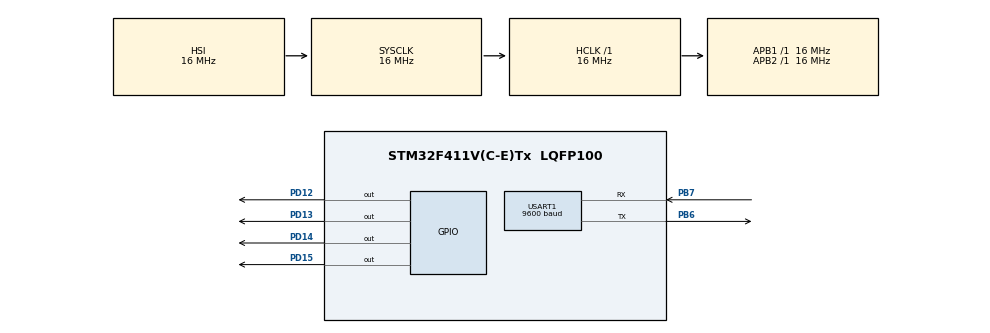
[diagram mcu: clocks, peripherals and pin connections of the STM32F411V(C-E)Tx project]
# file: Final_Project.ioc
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FREERTOS.Tasks01=defaultTask,24,128,StartDefaultTask,Default,NULL,Dynamic,NULL,NULL;Blinking_LED,8,1024,Function1,Default,NULL,Dynamic,NULL,NULL;UART,8,1024,Function2,Default,NULL,Dynamic,NULL,NULL
Mcu.Family=STM32F4
Mcu.Name=STM32F411V(C-E)Tx
Mcu.Package=LQFP100
NVIC.PriorityGroup=NVIC_PRIORITYGROUP_4
PA13.Mode=Serial_Wire
PA13.Signal=SYS_JTMS-SWDIO
PA14.Mode=Serial_Wire
PA14.Signal=SYS_JTCK-SWCLK
PB6.Mode=Asynchronous
PB6.Signal=USART1_TX
PB7.Mode=Asynchronous
PB7.Signal=USART1_RX
PD12.Signal=GPIO_Output
PD13.Signal=GPIO_Output
PD14.Signal=GPIO_Output
PD15.Signal=GPIO_Output
ProjectManager.HeapSize=0x200
ProjectManager.StackSize=0x400
ProjectManager.TargetToolchain=STM32CubeIDE
RCC.AHBFreq_Value=16000000
RCC.APB1Freq_Value=16000000
RCC.APB2Freq_Value=16000000
RCC.CortexFreq_Value=16000000
RCC.HSE_VALUE=25000000
RCC.HSI_VALUE=16000000
RCC.LSE_VALUE=32768
RCC.SYSCLKFreq_VALUE=16000000
RCC.VCOOutputFreq_Value=192000000
USART1.BaudRate=9600
USART1.VirtualMode=VM_ASYNC
USART1.WordLength=WORDLENGTH_8B
VP_FREERTOS_VS_CMSIS_V2.Mode=CMSIS_V2
board=custom

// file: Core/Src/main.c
/* USER CODE BEGIN Header */
/**
  ******************************************************************************
  * @file           : main.c
  * @brief          : Main program body
  ******************************************************************************
  * @attention
  *
  * Copyright (c) 2023 STMicroelectronics.
  * All rights reserved.
  *
  * This software is licensed under terms that can be found in the LICENSE file
  * in the root directory of this software component.
  * If no LICENSE file comes with this software, it is provided AS-IS.
  *
  ******************************************************************************
  */
/* USER CODE END Header */
#include "main.h"
#include <string.h>
#include <stdarg.h>
#include <stdio.h>
#include "stdint.h"
#include "cmsis_os.h"

/* USER CODE BEGIN Includes */
void adc_init()
{
	//__HAL_RCC_ADC_CLK_ENABLE();
	uint32_t* RCC_APB2ENR = (uint32_t*)(0x40023800 + 0x44);
	*RCC_APB2ENR |= (1 << 8);

	uint32_t* ADC_CCR = (uint32_t*)(0x40012000 + 0x300 + 0x04);
	*ADC_CCR |= (1 << 23);

	uint32_t* ADC_JSQR = (uint32_t*)(0x40012000 + 0x38);
	*ADC_JSQR &= ~(0b11 << 20); //1 conversion
	*ADC_JSQR |= (16 << 15);    //select channel 16 (temp sensor) to measure

	uint32_t* ADC_CR2 = (uint32_t*)(0x40012000 + 0x08);
	*ADC_CR2 |= (1 << 0);

	uint32_t* ADC_SMPR1 = (uint32_t*)(0x40012000 + 0x0C);
	*ADC_SMPR1 |= (0b111 << 18); //select sample time for channel 16 is 480 cycles
}

int adc_measure_vin()
{
	uint32_t* ADC_CR2 = (uint32_t*)(0x40012000 + 0x08);
	*ADC_CR2 |= (1 << 22); //start injected conversion

	uint32_t* ADC_SR = (uint32_t*)(0x40012000 + 0x00);
	while(((*ADC_SR >> 2) &1 ) !=1); //wait until injected conversion complete

	uint32_t* ADC_JDR1 = (uint32_t*)(0x40012000 + 0x3C);
	uint16_t Dr = *ADC_JDR1 & 0Xfff;
	float Vin = (Dr * 3000)/4095;
	return Vin;
}

uint8_t temperature; // degree C
uint8_t temperature1;

int adc_get_temp_C()
{
	int Vsense = adc_measure_vin();
	int V25 = 760;
	float AVG_slope = 2.5;
	temperature = ((Vsense - V25)/AVG_slope) +25;
	return temperature;
}
int adc_get_temp_H()
{
	temperature1 = (9 * temperature)/5 + 32; // degree F
	return temperature1;
}
/* USER CODE END Includes */

/* USER CODE BEGIN PTD */
void UART_init()
{
    __HAL_RCC_GPIOB_CLK_ENABLE();
    uint32_t* GPIOB_MODER = (uint32_t*)(0x40020400 + 0x00);
    uint32_t* GPIOB_AFRL = (uint32_t*)(0x40020400 + 0x20);

    *GPIOB_MODER &= ~((0b11 << 12) | (0b11 << 14));
    *GPIOB_MODER |= ((0b10 << 12) | (0b10 << 14));
    *GPIOB_AFRL |= (7 << 24) | (7 << 28);

    //baudrate = 9600 ---> use formular to resolve it.
    //parity: even
    //data len: 8 bit
    __HAL_RCC_USART1_CLK_ENABLE();
    uint32_t* USART1_BRR = (uint32_t*)(0x40011000 + 0x08);
    uint32_t* USART1_CR1 = (uint32_t*)(0x40011000 + 0x0C);

    *USART1_BRR |= (104 << 4) | (3 << 0); // set baud rate = 9600
    *USART1_CR1 |= (1 << 12) | (1 << 10);
    *USART1_CR1 &= ~(1 << 9);
    *USART1_CR1 |= (1 << 13)|(1 << 3)|(1 << 2);// Enable UART, Tx và Rx
}

void UART_send_1_byte(char data)
{
    uint32_t* USART1_DR  = (uint32_t*)(0x40011000 + 0x04);
    uint32_t* USART1_SR  = (uint32_t*)(0x40011000 + 0x00);

    while(((*USART1_SR >> 7) &1) !=1); //7: Transmit data register empty
    *USART1_DR = data;
    while(((*USART1_SR >> 6) &1) !=1); //6: Transmission complete
}

void UART_send_string(char* str)
{
    int trl_len = strlen(str);
    for(int i = 0; i < trl_len; i++)
    {
        UART_send_1_byte(str[i]);
    }
}

char UART_recieve_data()
{
	uint32_t* USART1_DR  = (uint32_t*)(0x40011000 + 0x04);
	uint32_t* USART1_SR  = (uint32_t*)(0x40011000 + 0x00);

	while(((*USART1_SR >> 5) &1) !=1);
	uint8_t data = *USART1_DR;

	return data;
}

void printlog(char* format, ...)
{
	char buf[1024] = {0};
	int buf_len =0;
	va_list ap;
	va_start (ap, format);
	vsprintf(buf, format, ap);
	va_end(ap);
	buf_len = strlen(buf);
	for(int i=0; i < buf_len; i++)
	{
		UART_send_1_byte(buf[i]);
	}
}

/* USER CODE END PTD */

UART_HandleTypeDef huart1;

/* Definitions for defaultTask */
osThreadId_t defaultTaskHandle;
const osThreadAttr_t defaultTask_attributes = {
  .name = "defaultTask",
  .stack_size = 128 * 4,
  .priority = (osPriority_t) osPriorityNormal,
};
/* Definitions for Blinking_LED */
osThreadId_t Blinking_LEDHandle;
const osThreadAttr_t Blinking_LED_attributes = {
  .name = "Blinking_LED",
  .stack_size = 1024 * 4,
  .priority = (osPriority_t) osPriorityLow,
};
/* Definitions for UART */
osThreadId_t UARTHandle;
const osThreadAttr_t UART_attributes = {
  .name = "UART",
  .stack_size = 1024 * 4,
  .priority = (osPriority_t) osPriorityLow,
};

void SystemClock_Config(void);
static void MX_GPIO_Init(void);
static void MX_USART1_UART_Init(void);
void StartDefaultTask(void *argument);
void Function1(void *argument);
void Function2(void *argument);

int main(void)
{
  /* USER CODE BEGIN 1 */
	adc_init();
	adc_measure_vin();
	adc_get_temp_C();
	adc_get_temp_H();
  /* USER CODE END 1 */

  /* MCU Configuration--------------------------------------------------------*/

  /* Reset of all peripherals, Initializes the Flash interface and the Systick. */
  HAL_Init();

  /* Configure the system clock */
  SystemClock_Config();

  /* Initialize all configured peripherals */
  MX_GPIO_Init();
  MX_USART1_UART_Init();

  /* Init scheduler */
  osKernelInitialize();

  /* Create the thread(s) */
  /* creation of defaultTask */
  defaultTaskHandle = osThreadNew(StartDefaultTask, NULL, &defaultTask_attributes);

  /* creation of Blinking_LED */
  Blinking_LEDHandle = osThreadNew(Function1, NULL, &Blinking_LED_attributes);

  /* creation of UART */
  UARTHandle = osThreadNew(Function2, NULL, &UART_attributes);

  /* Start scheduler */
  osKernelStart();

  /* We should never get here as control is now taken by the scheduler */
  /* Infinite loop */
  while (1)
  {

  }
}

void SystemClock_Config(void)
{
  RCC_OscInitTypeDef RCC_OscInitStruct = {0};
  RCC_ClkInitTypeDef RCC_ClkInitStruct = {0};

  /** Configure the main internal regulator output voltage
  */
  __HAL_RCC_PWR_CLK_ENABLE();
  __HAL_PWR_VOLTAGESCALING_CONFIG(PWR_REGULATOR_VOLTAGE_SCALE1);

  /** Initializes the RCC Oscillators according to the specified parameters
  * in the RCC_OscInitTypeDef structure.
  */
  RCC_OscInitStruct.OscillatorType = RCC_OSCILLATORTYPE_HSI;
  RCC_OscInitStruct.HSIState = RCC_HSI_ON;
  RCC_OscInitStruct.HSICalibrationValue = RCC_HSICALIBRATION_DEFAULT;
  RCC_OscInitStruct.PLL.PLLState = RCC_PLL_NONE;
  if (HAL_RCC_OscConfig(&RCC_OscInitStruct) != HAL_OK)
  {
    Error_Handler();
  }

  /** Initializes the CPU, AHB and APB buses clocks
  */
  RCC_ClkInitStruct.ClockType = RCC_CLOCKTYPE_HCLK|RCC_CLOCKTYPE_SYSCLK
                              |RCC_CLOCKTYPE_PCLK1|RCC_CLOCKTYPE_PCLK2;
  RCC_ClkInitStruct.SYSCLKSource = RCC_SYSCLKSOURCE_HSI;
  RCC_ClkInitStruct.AHBCLKDivider = RCC_SYSCLK_DIV1;
  RCC_ClkInitStruct.APB1CLKDivider = RCC_HCLK_DIV1;
  RCC_ClkInitStruct.APB2CLKDivider = RCC_HCLK_DIV1;

  if (HAL_RCC_ClockConfig(&RCC_ClkInitStruct, FLASH_LATENCY_0) != HAL_OK)
  {
    Error_Handler();
  }
}

static void MX_USART1_UART_Init(void)
{

  huart1.Instance = USART1;
  huart1.Init.BaudRate = 9600;
  huart1.Init.WordLength = UART_WORDLENGTH_8B;
  huart1.Init.StopBits = UART_STOPBITS_1;
  huart1.Init.Parity = UART_PARITY_NONE;
  huart1.Init.Mode = UART_MODE_TX_RX;
  huart1.Init.HwFlowCtl = UART_HWCONTROL_NONE;
  huart1.Init.OverSampling = UART_OVERSAMPLING_16;
  if (HAL_UART_Init(&huart1) != HAL_OK)
  {
    Error_Handler();
  }

}

static void MX_GPIO_Init(void)
{
  GPIO_InitTypeDef GPIO_InitStruct = {0};

  /* GPIO Ports Clock Enable */
  __HAL_RCC_GPIOD_CLK_ENABLE();
  __HAL_RCC_GPIOA_CLK_ENABLE();
  __HAL_RCC_GPIOB_CLK_ENABLE();

  /*Configure GPIO pin Output Level */
  HAL_GPIO_WritePin(GPIOD, GPIO_PIN_12|GPIO_PIN_13|GPIO_PIN_14|GPIO_PIN_15, GPIO_PIN_RESET);

  /*Configure GPIO pins : PD12 PD13 PD14 PD15 */
  GPIO_InitStruct.Pin = GPIO_PIN_12|GPIO_PIN_13|GPIO_PIN_14|GPIO_PIN_15;
  GPIO_InitStruct.Mode = GPIO_MODE_OUTPUT_PP;
  GPIO_InitStruct.Pull = GPIO_NOPULL;
  GPIO_InitStruct.Speed = GPIO_SPEED_FREQ_LOW;
  HAL_GPIO_Init(GPIOD, &GPIO_InitStruct);

}

void StartDefaultTask(void *argument)
{
  /* USER CODE BEGIN 5 */
  /* Infinite loop */
  for(;;)
  {
	  HAL_GPIO_WritePin(GPIOD, GPIO_PIN_13, GPIO_PIN_SET);
	  osDelay(1500);
	  HAL_GPIO_WritePin(GPIOD, GPIO_PIN_13, GPIO_PIN_RESET);
	  osDelay(1500);
  }
  /* USER CODE END 5 */
}

void Function1(void *argument)
{
  /* USER CODE BEGIN Function1 */
  /* Infinite loop */
  for(;;)
  {
	HAL_GPIO_WritePin(GPIOD, GPIO_PIN_12, GPIO_PIN_SET);
    osDelay(1000);
    HAL_GPIO_WritePin(GPIOD, GPIO_PIN_12, GPIO_PIN_RESET);
    osDelay(1000);
  }
  /* USER CODE END Function1 */
}

void Function2(void *argument)
{
  /* USER CODE BEGIN Function2 */
  /* Infinite loop */
  for(;;)
  {
	//HAL_UART_Transmit(UART_HandleTypeDef *huart, const uint8_t *pData, uint16_t Size, uint32_t Timeout);
	for(int j=0; j<100000; j++)
	{
		printlog("%d. Temp = %d deg C and %d deg H \r\n", j, temperature, temperature1);
		osDelay(3000);
	}

  }
  /* USER CODE END Function2 */
}

void Error_Handler(void)
{
  __disable_irq();
  while (1)
  {
  }
}
